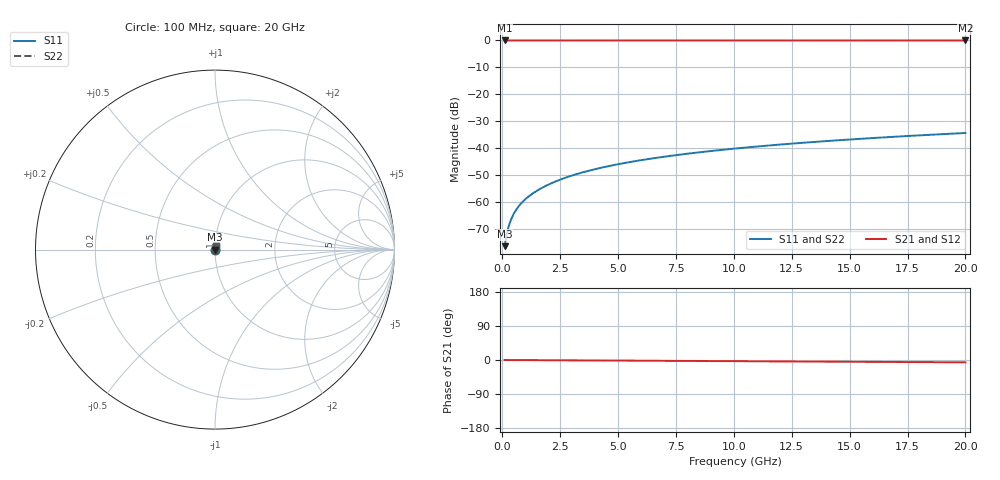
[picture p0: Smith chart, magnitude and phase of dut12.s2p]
! Touchstone file exported from HFSS 2026.1.0
!  File:  C:/ffzhzh/LocalFiles/Ansys_Project_Files/temp_train_TSV_12_1782957969_45308.aedt
!  Generated:  10:07:32 AM Jul  2, 2026
!  Design:  TSV
!  Project:  temp_train_TSV_12_1782957969_45308
! Variables:
!  h_bsmrdl = 2um
!  h_ox = 20um
!  h_rdl = 5um
!  h_sub = 55.09um
!  h_tmrdl = 5um
!  h_tsv = 55.09um
!  h_via = 3um
!  l_bsmrdl = 300um
!  l_sub = 421.28um
!  l_tmrdl = 200um
!  m_sub = 200um
!  pitch = 51.61um
!  r_tsv = 10.64um
!  s_tmrdl = 10um
!  w_bsmrdl = 18um
!  w_sub = 500um
!  w_tmrdl = 12um
!  x_tsv_center1 = 206um
!  x_tsv_center2 = 524um
!  x_tsv_center3 = 736um
!  x_tsv_center4 = 1054um
!  x_tsv_center5 = 1266um
!  x_tsv_center6 = 1584um
# GHz S MA R 50.000000
! Terminal data exported
! Port[1] = TSV1_1_T1
! Port[2] = TSV1_1_T2
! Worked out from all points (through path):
!   200 points, 100 MHz to 20 GHz, reference 50 ohm
!   highest |S21| = 0.00 dB at 100 MHz (marker M1); lowest = 0.0 dB at 20 GHz (marker M2)
!   lowest |S11| = -76.2 dB at 100 MHz (marker M3), VSWR 1.00, Z = 50 + j0.0127 ohm
!   |S11| at or under -10 dB: start of sweep to end of sweep
!   |S22| runs from -76.2 to -34.3 dB; largest |S21 - S12| = 4e-15
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0.1  0.0001542 55.3  0.9999 -0.0  0.9999 -0.0  0.0001542 55.3
! Gamma 0 0 0 0
! Port Impedance 50 0 50 0
0.2  0.0002693 69.0  0.9999 -0.1  0.9999 -0.1  0.0002693 69.0
0.3  0.0003884 73.6  0.9999 -0.1  0.9999 -0.1  0.0003884 73.6
0.4  0.0005055 75.7  0.9999 -0.1  0.9999 -0.1  0.0005055 75.7
0.5  0.0006192 76.7  0.9999 -0.2  0.9999 -0.2  0.0006192 76.7
0.6  0.0007296 77.4  0.9998 -0.2  0.9998 -0.2  0.0007296 77.4
0.7  0.0008369 77.9  0.9998 -0.2  0.9998 -0.2  0.0008369 77.9
0.8  0.0009418 78.3  0.9998 -0.3  0.9998 -0.3  0.0009418 78.3
1  0.001147 79.0  0.9998 -0.3  0.9998 -0.3  0.001147 79.0
1.4  0.001547 80.2  0.9997 -0.4  0.9997 -0.4  0.001547 80.2
1.7  0.001844 81.0  0.9997 -0.5  0.9997 -0.5  0.001844 81.0
2  0.002141 81.6  0.9997 -0.6  0.9997 -0.6  0.002141 81.6
2.7  0.002833 82.5  0.9997 -0.8  0.9997 -0.8  0.002833 82.5
3.5  0.003622 83.0  0.9996 -1.1  0.9996 -1.1  0.003622 83.0
4.2  0.004308 83.3  0.9996 -1.3  0.9996 -1.3  0.004308 83.3
5  0.005088 83.4  0.9995 -1.6  0.9995 -1.6  0.005088 83.4
6.8  0.006826 83.5  0.9995 -2.1  0.9995 -2.1  0.006826 83.5
8.3  0.008262 83.4  0.9994 -2.6  0.9994 -2.6  0.008262 83.4
10.1  0.009977 83.2  0.9993 -3.1  0.9993 -3.1  0.009977 83.2
13.4  0.0131 82.7  0.9992 -4.1  0.9992 -4.1  0.0131 82.7
16.7  0.01621 82.0  0.9991 -5.2  0.9991 -5.2  0.01621 82.0
20  0.01929 81.2  0.9989 -6.2  0.9989 -6.2  0.01929 81.2
